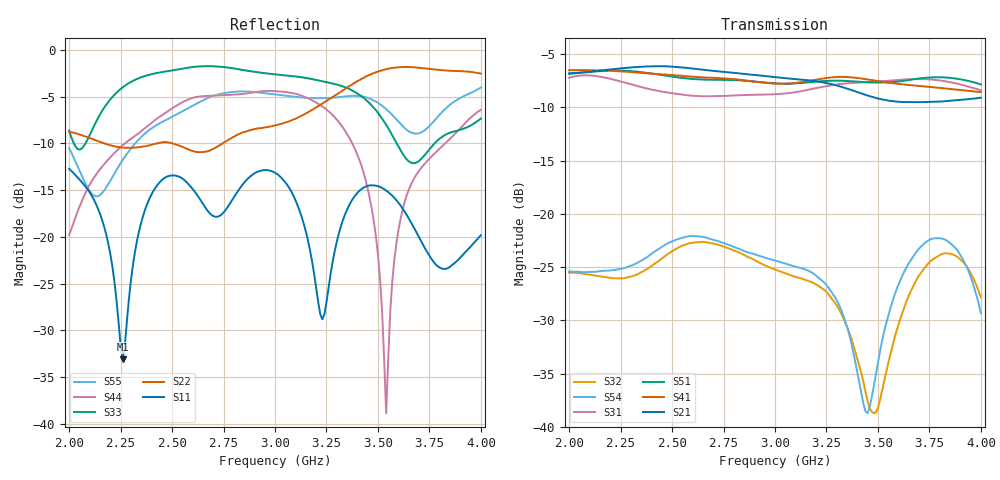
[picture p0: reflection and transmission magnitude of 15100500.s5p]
! Created with skrf 1.8.0 (http://scikit-rf.org).
# Hz S RI R 50.0
!freq ReS11 ImS11 ReS12 ImS12 ReS13 ImS13
! ReS14 ImS14 ReS15 ImS15
! ReS21 ImS21 ReS22 ImS22 ReS23 ImS23
! ReS24 ImS24 ReS25 ImS25
! ReS31 ImS31 ReS32 ImS32 ReS33 ImS33
! ReS34 ImS34 ReS35 ImS35
! ReS41 ImS41 ReS42 ImS42 ReS43 ImS43
! ReS44 ImS44 ReS45 ImS45
! ReS51 ImS51 ReS52 ImS52 ReS53 ImS53
! ReS54 ImS54 ReS55 ImS55
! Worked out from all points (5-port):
!   201 points, 2 GHz to 4 GHz, reference 50 ohm
!   strongest paths, dB at 2 GHz, 2.5 GHz, 3 GHz, 3.5 GHz, 4 GHz:
!     S21: -6.8, -6.2, -7.2, -9.2, -9.1
!     S41: -6.5, -7.0, -7.8, -7.5, -8.6
!     S51: -6.9, -7.1, -7.7, -7.7, -7.8
!     S31: -7.2, -8.7, -8.8, -7.6, -8.4
!     S54: -25.4, -22.6, -24.4, -34.0, -29.3
!     S32: -25.5, -23.5, -25.2, -38.2, -27.9
!   lowest |S11| = -33.1 dB at 2.26 GHz (marker M1), VSWR 1.05, Z = 48.5 + j1.57 ohm
!   |S11| at or under -10 dB: start of sweep to end of sweep
